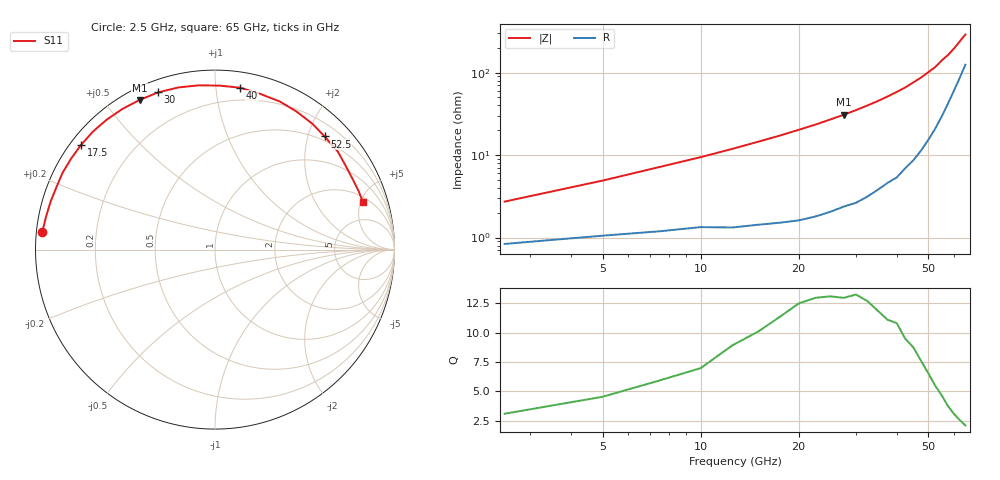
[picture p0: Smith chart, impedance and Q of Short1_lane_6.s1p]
! File created by SignalIntegrity v1.5.1: Signal and Power Integrity Tools
! https://github.com/Nubis-Communications/SignalIntegrity
# MHz S MA R 50.0
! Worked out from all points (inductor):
!   26 points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, 2.5 GHz to 65 GHz, reference 50 ohm
!   read as one part to ground: L = 153 pH near 2.5 GHz
!   highest Q = 13.1 at 27.5 GHz (marker M1), where L = 178 pH
!   S11 on the Smith chart (normalised r, x): 2.5 GHz: 0.02, +0.05; 17.5 GHz: 0.03, +0.34; 30 GHz: 0.05, +0.70; 40 GHz: 0.11, +1.16; 52.5 GHz: 0.42, +2.30; 65 GHz: 2.49, +5.24
2500  0.9671 174.0
5000  0.9591 169.0
7500  0.9543 163.8
10000  0.9496 158.8
12500  0.951 153.4
15000  0.9485 147.8
17500  0.9473 142.0
20000  0.9459 136.0
22500  0.9426 129.9
25000  0.9382 123.3
27500  0.9335 116.7
30000  0.9316 109.9
32500  0.9261 102.8
35000  0.9197 95.7
37500  0.914 88.4
40000  0.9128 81.2
42500  0.9038 74.0
45000  0.9007 66.4
47500  0.8933 59.5
50000  0.8866 52.2
52500  0.8778 45.9
55000  0.8753 38.5
57500  0.8652 33.0
60000  0.8617 27.3
62500  0.8641 22.1
65000  0.8654 17.8
